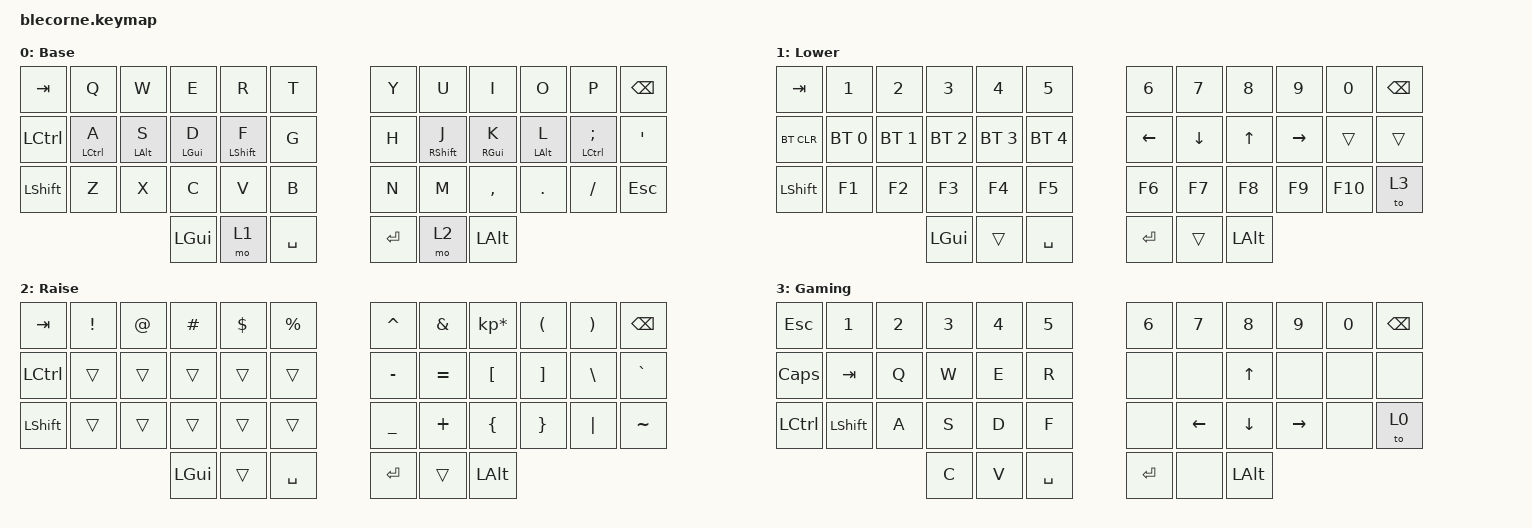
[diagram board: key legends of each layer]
/*
 * Copyright (c) 2020 The ZMK Contributors
 * SPDX-License-Identifier: MIT
 */

#include <behaviors.dtsi>
#include <dt-bindings/zmk/keys.h>
#include <dt-bindings/zmk/bt.h>

/ {
    chosen {
        zmk,physical-layout = &foostan_corne_6col_layout;
    };

    behaviors {
        bhm: balanced_homerow_mods {
            compatible = "zmk,behavior-hold-tap";
            #binding-cells = <2>;
            tapping-term-ms = <200>;
            quick-tap-ms = <0>;
            flavor = "balanced";
            bindings = <&kp>, <&kp>;
        };
    };

    keymap {
        compatible = "zmk,keymap";

        default_layer {
            // -----------------------------------------------------------------------------------------
            // |  TAB |  Q  |  W  |  E  |  R  |  T  |   |  Y  |  U   |  I  |  O  |  P  | BKSP |
            // | CTRL |  A  |  S  |  D  |  F  |  G  |   |  H  |  J   |  K  |  L  |  ;  |  '   |
            // | SHFT |  Z  |  X  |  C  |  V  |  B  |   |  N  |  M   |  ,  |  .  |  /  | ESC  |
            //                    | GUI | LWR | SPC |   | ENT | RSE  | ALT |

            display-name = "Base";
            bindings = <
&kp TAB    &kp Q         &kp W        &kp E        &kp R          &kp T        &kp Y    &kp U          &kp I        &kp O        &kp P            &kp BSPC
&kp LCTRL  &bhm LCTRL A  &bhm LALT S  &bhm LGUI D  &bhm LSHIFT F  &kp G        &kp H    &bhm RSHIFT J  &bhm RGUI K  &bhm LALT L  &bhm LCTRL SEMI  &kp SQT
&kp LSHFT  &kp Z         &kp X        &kp C        &kp V          &kp B        &kp N    &kp M          &kp COMMA    &kp DOT      &kp FSLH         &kp ESC
                                      &kp LGUI     &mo 1          &kp SPACE    &kp RET  &mo 2          &kp LALT
            >;
        };

        lower_layer {
            // -----------------------------------------------------------------------------------------
            // |  TAB |  1  |  2  |  3  |  4  |  5  |   |  6  |  7  |  8  |  9  |  0  | BKSP |
            // | BTCLR| BT1 | BT2 | BT3 | BT4 | BT5 |   | LFT | DWN |  UP | RGT |     |      |
            // | SHFT |     |     |     |     |     |   |     |     |     |     |     |      |
            //                    | GUI |     | SPC |   | ENT |     | ALT |

            display-name = "Lower";
            bindings = <
&kp TAB     &kp N1        &kp N2        &kp N3        &kp N4        &kp N5          &kp N6    &kp N7    &kp N8        &kp N9     &kp N0   &kp BSPC
&bt BT_CLR  &bt BT_SEL 0  &bt BT_SEL 1  &bt BT_SEL 2  &bt BT_SEL 3  &bt BT_SEL 4    &kp LEFT  &kp DOWN  &kp UP        &kp RIGHT  &trans   &trans
&kp LSHFT   &kp F1        &kp F2        &kp F3        &kp F4        &kp F5          &kp F6    &kp F7    &kp F8        &kp F9     &kp F10  &to 3
                                        &kp LGUI      &trans        &kp SPACE       &kp RET   &trans    &kp LEFT_ALT
            >;
        };

        raise_layer {
            // -----------------------------------------------------------------------------------------
            // |  TAB |  !  |  @  |  #  |  $  |  %  |   |  ^  |  &  |  *  |  (  |  )  | BKSP |
            // | CTRL |     |     |     |     |     |   |  -  |  =  |  [  |  ]  |  \  |  `   |
            // | SHFT |     |     |     |     |     |   |  _  |  +  |  {  |  }  | "|" |  ~   |
            //                    | GUI |     | SPC |   | ENT |     | ALT |

            display-name = "Raise";
            bindings = <
&kp TAB    &kp EXCL  &kp AT  &kp HASH  &kp DLLR  &kp PRCNT    &kp CARET  &kp AMPS   &kp KP_MULTIPLY  &kp LPAR  &kp RPAR  &kp BSPC
&kp LCTRL  &trans    &trans  &trans    &trans    &trans       &kp MINUS  &kp EQUAL  &kp LBKT         &kp RBKT  &kp BSLH  &kp GRAVE
&kp LSHFT  &trans    &trans  &trans    &trans    &trans       &kp UNDER  &kp PLUS   &kp LBRC         &kp RBRC  &kp PIPE  &kp TILDE
                             &kp LGUI  &trans    &kp SPACE    &kp RET    &trans     &kp LEFT_ALT
            >;
        };

        gaming_layer {
            bindings = <
&kp ESCAPE    &kp N1          &kp N2  &kp N3  &kp N4  &kp N5       &kp N6   &kp N7    &kp N8        &kp N9     &kp N0  &kp BACKSPACE
&kp CAPSLOCK  &kp TAB         &kp Q   &kp W   &kp E   &kp R        &none    &none     &kp UP        &none      &none   &none
&kp LCTRL     &kp LEFT_SHIFT  &kp A   &kp S   &kp D   &kp F        &none    &kp LEFT  &kp DOWN      &kp RIGHT  &none   &to 0
                                      &kp C   &kp V   &kp SPACE    &kp RET  &none     &kp LEFT_ALT
            >;

            label = "Gaming";
        };
    };
};
